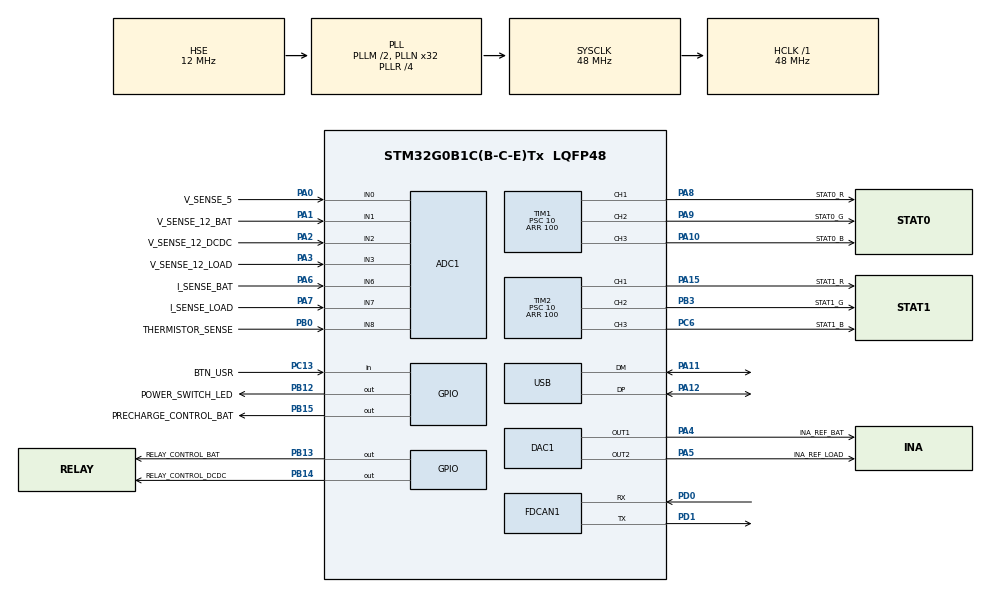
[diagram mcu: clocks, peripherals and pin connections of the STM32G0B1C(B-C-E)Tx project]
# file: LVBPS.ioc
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ADC1.ContinuousConvMode=ENABLE
ADC1.DMAContinuousRequests=ENABLE
ADC1.NbrOfConversion=1
ADC1.NbrOfConversionFlag=0
ADC1.OversamplingMode=ENABLE
ADC1.Ratio=ADC_OVERSAMPLING_RATIO_64
ADC1.RightBitShift=ADC_RIGHTBITSHIFT_2
ADC1.SamplingTimeCommon1=ADC_SAMPLETIME_7CYCLES_5
ADC1.SelectedChannel=ADC_CHANNEL_0|ADC_CHANNEL_1|ADC_CHANNEL_2|ADC_CHANNEL_3|ADC_CHANNEL_6|ADC_CHANNEL_7|ADC_CHANNEL_TEMPSENSOR|ADC_CHANNEL_VREFINT|ADC_CHANNEL_8
ADC1.Sequencer=NOT_FULLY_CONFIGURABLE
ADC1.master=1
DAC1.DAC_Channel-DAC_OUT1=DAC_CHANNEL_1
DAC1.DAC_Channel-DAC_OUT2=DAC_CHANNEL_2
DAC1.DAC_UserTrimming-DAC_OUT1=DAC_TRIMMING_FACTORY
Dma.ADC1.0.Direction=DMA_PERIPH_TO_MEMORY
Dma.ADC1.0.EventEnable=DISABLE
Dma.ADC1.0.Instance=DMA1_Channel1
Dma.ADC1.0.MemDataAlignment=DMA_MDATAALIGN_HALFWORD
Dma.ADC1.0.MemInc=DMA_MINC_ENABLE
Dma.ADC1.0.Mode=DMA_CIRCULAR
Dma.ADC1.0.PeriphDataAlignment=DMA_PDATAALIGN_HALFWORD
Dma.ADC1.0.PeriphInc=DMA_PINC_DISABLE
Dma.ADC1.0.Polarity=HAL_DMAMUX_REQ_GEN_RISING
Dma.ADC1.0.Priority=DMA_PRIORITY_HIGH
Dma.ADC1.0.RequestNumber=1
Dma.ADC1.0.SignalID=NONE
Dma.ADC1.0.SyncEnable=DISABLE
Dma.ADC1.0.SyncPolarity=HAL_DMAMUX_SYNC_NO_EVENT
Dma.ADC1.0.SyncRequestNumber=1
Dma.ADC1.0.SyncSignalID=NONE
Dma.Request0=ADC1
FDCAN1.CalculateBaudRateNominal=250000
FDCAN1.CalculateTimeBitNominal=4000
FDCAN1.CalculateTimeQuantumNominal=250.0
FDCAN1.NominalPrescaler=12
FDCAN1.NominalTimeSeg1=13
FDCAN1.NominalTimeSeg2=2
Mcu.Family=STM32G0
Mcu.Name=STM32G0B1C(B-C-E)Tx
Mcu.Package=LQFP48
NVIC.ADC1_COMP_IRQn=true\:0\:0\:false\:false\:true\:true\:true\:true
NVIC.DMA1_Channel1_IRQn=true\:0\:0\:false\:false\:true\:false\:true\:true
NVIC.TIM16_FDCAN_IT0_IRQn=true\:0\:0\:false\:false\:true\:true\:true\:true
NVIC.TIM17_FDCAN_IT1_IRQn=true\:0\:0\:false\:false\:true\:true\:true\:true
PA0.GPIO_Label=V_SENSE_5
PA0.Mode=IN0
PA0.Signal=ADC1_IN0
PA1.GPIO_Label=V_SENSE_12_BAT
PA1.Mode=IN1
PA1.Signal=ADC1_IN1
PA10.GPIO_Label=STAT0_B
PA10.Signal=S_TIM1_CH3
PA11\ [PA9].Mode=Device
PA11\ [PA9].Signal=USB_DM
PA12\ [PA10].Mode=Device
PA12\ [PA10].Signal=USB_DP
PA13.Mode=Serial_Wire
PA13.Signal=SYS_SWDIO
PA14-BOOT0.Mode=Serial_Wire
PA14-BOOT0.Signal=SYS_SWCLK
PA15.GPIO_Label=STAT1_R
PA15.Signal=S_TIM2_CH1_ETR
PA2.GPIO_Label=V_SENSE_12_DCDC
PA2.Mode=IN2
PA2.Signal=ADC1_IN2
PA3.GPIO_Label=V_SENSE_12_LOAD
PA3.Mode=IN3
PA3.Signal=ADC1_IN3
PA4.GPIO_Label=INA_REF_BAT
PA4.Signal=COMP_DAC11_group
PA5.GPIO_Label=INA_REF_LOAD
PA5.Signal=COMP_DAC12_group
PA6.GPIO_Label=I_SENSE_BAT
PA6.Mode=IN6
PA6.Signal=ADC1_IN6
PA7.GPIO_Label=I_SENSE_LOAD
PA7.Mode=IN7
PA7.Signal=ADC1_IN7
PA8.GPIO_Label=STAT0_R
PA8.Signal=S_TIM1_CH1
PA9.GPIO_Label=STAT0_G
PA9.Signal=S_TIM1_CH2
PB0.GPIO_Label=THERMISTOR_SENSE
PB0.Mode=IN8
PB0.Signal=ADC1_IN8
PB12.GPIO_Label=POWER_SWITCH_LED
PB12.Signal=GPIO_Output
PB13.GPIO_Label=RELAY_CONTROL_BAT
PB13.Signal=GPIO_Output
PB14.GPIO_Label=RELAY_CONTROL_DCDC
PB14.Signal=GPIO_Output
PB15.GPIO_Label=PRECHARGE_CONTROL_BAT
PB15.Signal=GPIO_Output
PB3.GPIO_Label=STAT1_G
PB3.Signal=S_TIM2_CH2
PC13.GPIO_Label=BTN_USR
PC13.Signal=GPIO_Input
PC14-OSC32_IN\ (PC14).Mode=LSE-External-Oscillator
PC14-OSC32_IN\ (PC14).Signal=RCC_OSC32_IN
PC15-OSC32_OUT\ (PC15).Mode=LSE-External-Oscillator
PC15-OSC32_OUT\ (PC15).Signal=RCC_OSC32_OUT
PC6.GPIO_Label=STAT1_B
PC6.Signal=S_TIM2_CH3
PD0.Mode=FDCAN_Activate
PD0.Signal=FDCAN1_RX
PD1.Mode=FDCAN_Activate
PD1.Signal=FDCAN1_TX
PF0-OSC_IN\ (PF0).Mode=HSE-External-Oscillator
PF0-OSC_IN\ (PF0).Signal=RCC_OSC_IN
PF1-OSC_OUT\ (PF1).Mode=HSE-External-Oscillator
PF1-OSC_OUT\ (PF1).Signal=RCC_OSC_OUT
ProjectManager.HeapSize=0x200
ProjectManager.StackSize=0x400
ProjectManager.TargetToolchain=CMake
RCC.ADCFreq_Value=48000000
RCC.AHBFreq_Value=48000000
RCC.CortexFreq_Value=48000000
RCC.EXTERNAL_CLOCK_VALUE=48000
RCC.HCLKFreq_Value=48000000
RCC.HSE_VALUE=12000000
RCC.HSI48_VALUE=48000000
RCC.HSI_VALUE=16000000
RCC.PLLM=RCC_PLLM_DIV2
RCC.PLLN=32
RCC.PLLR=RCC_PLLR_DIV4
RCC.PLLSourceVirtual=RCC_PLLSOURCE_HSE
RCC.SYSCLKFreq_VALUE=48000000
RCC.SYSCLKSource=RCC_SYSCLKSOURCE_PLLCLK
RCC.USBFreq_Value=48000000
RCC.VCOOutputFreq_Value=192000000
SH.COMP_DAC11_group.0=DAC1_OUT1,DAC_OUT1
SH.COMP_DAC12_group.0=DAC1_OUT2,DAC_OUT2
SH.S_TIM1_CH1.0=TIM1_CH1,PWM Generation1 CH1
SH.S_TIM1_CH2.0=TIM1_CH2,PWM Generation2 CH2
SH.S_TIM1_CH3.0=TIM1_CH3,PWM Generation3 CH3
SH.S_TIM2_CH1_ETR.0=TIM2_CH1,PWM Generation1 CH1
SH.S_TIM2_CH2.0=TIM2_CH2,PWM Generation2 CH2
SH.S_TIM2_CH3.0=TIM2_CH3,PWM Generation3 CH3
TIM1.Channel-PWM\ Generation1\ CH1=TIM_CHANNEL_1
TIM1.Channel-PWM\ Generation2\ CH2=TIM_CHANNEL_2
TIM1.Channel-PWM\ Generation3\ CH3=TIM_CHANNEL_3
TIM1.Period=100
TIM1.Prescaler=10
TIM2.Channel-PWM\ Generation1\ CH1=TIM_CHANNEL_1
TIM2.Channel-PWM\ Generation2\ CH2=TIM_CHANNEL_2
TIM2.Channel-PWM\ Generation3\ CH3=TIM_CHANNEL_3
TIM2.Period=100
TIM2.Prescaler=10
VP_ADC1_TempSens_Input.Mode=IN-TempSens
VP_ADC1_Vref_Input.Mode=IN-Vrefint
VP_SYS_VS_DBSignals.Mode=DisableDeadBatterySignals
board=custom

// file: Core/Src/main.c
/* USER CODE BEGIN Header */
/**
  ******************************************************************************
  * @file           : main.c
  * @brief          : Main program body
  ******************************************************************************
  * @attention
  *
  * Copyright (c) 2026 STMicroelectronics.
  * All rights reserved.
  *
  * This software is licensed under terms that can be found in the LICENSE file
  * in the root directory of this software component.
  * If no LICENSE file comes with this software, it is provided AS-IS.
  *
  ******************************************************************************
  */
/* USER CODE END Header */
#include "main.h"

/* USER CODE BEGIN Includes */
#include "LV3_CAN.h"
#include "LV3_CAN_Bitfield_XMacro.h"
#include "adc_sense.h"
#include <stdint.h>
#include <math.h>
/* USER CODE END Includes */

/* USER CODE BEGIN PTD */

// Battery relay will not turn on if any of these faults are set. Flag list and
// bit order come from the shared lv_bat_faults XMacro; packed so the flags
// occupy bits 0..N-1 of raw with no padding.
#define X(name, label) uint32_t name : 1;
typedef union {
  struct __attribute__((packed)) {
    LV3_CAN_Bitfield_lv_bat_faults_XMacro
  };
  uint32_t raw;
} Bat_Relay_Faults;
#undef X

// DCDC relay will not turn on if any of these faults are set. Flag list and
// bit order come from the shared lv_dcdc_faults XMacro.
#define X(name, label) uint32_t name : 1;
typedef union {
  struct __attribute__((packed)) {
    LV3_CAN_Bitfield_lv_dcdc_faults_XMacro
  };
  uint32_t raw;
} DCDC_Relay_Faults;
#undef X
/* USER CODE END PTD */

/* USER CODE BEGIN PD */

// Battery relay will not turn on until HAL_GetTick() exceeds this value, sets startup delay fault
#define SETPOINT_STARTUP_DELAY_MS        500

// Battery will be cut off no matter what if voltage gets this low, latches undervoltage fault
#define SETPOINT_UNDERVOLTAGE_V    11.0f
#define SETPOINT_UNDERVOLTAGE_TIME_MS     500

// Battery will be cut off no matter what if voltage gets this high, latches overvoltage fault
#define SETPOINT_OVERVOLTAGE_V        14.8f
#define SETPOINT_OVERVOLTAGE_TIME_MS       500

// Bus will not transition from off to on if battery voltage is below this threshold, sets startup undervoltage fault
// DCDC relay will not turn on if battery voltage is below this threshold, sets DCDC startup undervoltage fault
// If DCDC relay is on and battery voltage goes below this threshold, DCDC relay will turn off, latches DCDC undervoltage fault
#define SETPOINT_STARTUP_THRESHOLD_V 11.0f

// DCDC relay will turn on if DCDC voltage and battery voltage is below this threshold, sets DCDC startup undervoltage fault
// If DCDC relay is on and battery voltage exceeds this threshold, DCDC relay will turn off, latches DCDC overvoltage fault
#define SETPOINT_MAX_CHARGE_V       13.8f

// Battery will be cut off no matter what if battery current exceeds this threshold for SETPOINT_OVERCURRENT_TIME_MS, latches overcurrent fault
#define SETPOINT_MAX_CURRENT_A       7.0f
#define SETPOINT_OVERCURRENT_TIME_MS      500

// If DCDC relay is on and difference between battery current and load current exceeds this threshold, DCDC relay will turn off, latches DCDC overcurrent fault
// If load current remains goes below this threshold for SETPOINT_UNDERCURRENT_TIME_MS, battery will be cut off, latches undercurrent fault
#define SETPOINT_MIN_CURRENT_A      -9.0f
#define SETPOINT_UNDERCURRENT_TIME_MS     100
#define DCDC_OVERCURRENT_TIMEOUT_MS       500

// If difference between battery current and load current exceeds this threshold, DCDC relay will turn off, latches DCDC sink fault
#define DCDC_MAX_SINK_CURRENT_A          0.5f
#define DCDC_UNDERVOLTAGE_TIMEOUT_MS      500
#define DCDC_OVERVOLTAGE_TIMEOUT_MS       500
#define DCDC_SINK_TIMEOUT_MS              500

// If precharging lasts longer than this time, latches precharge timeout fault
#define PRECHARGE_TIMEOUT_MS                500

// Maximum voltage difference between battery and load for precharge
#define PRECHARGE_THRESHOLD_V  9.0f

// System will not operate when NTC is above this temperature (°C)
#define SETPOINT_MAX_TEMP_C  57.0f

/* USER CODE END PD */

ADC_HandleTypeDef hadc1;
DMA_HandleTypeDef hdma_adc1;

DAC_HandleTypeDef hdac1;

FDCAN_HandleTypeDef hfdcan1;

TIM_HandleTypeDef htim1;
TIM_HandleTypeDef htim2;

PCD_HandleTypeDef hpcd_USB_DRD_FS;

/* USER CODE BEGIN PV */
// Input state
GPIO_PinState BTN_USR;
GPIO_PinState BTN_USR_PREV = GPIO_PIN_RESET;

// Output state (0 = off, 1 = on)
uint8_t RELAY_CONTROL_BAT = 0;
uint8_t RELAY_CONTROL_DCDC = 0;
uint8_t PRECHARGE_CONTROL_BAT = 0;

uint8_t lv_bus_enabled = 1;
uint8_t bat_charge_enable = 1;
Bat_Relay_Faults bat_faults = {0};
uint8_t bat_faults_latched = 0;
DCDC_Relay_Faults dcdc_faults = {0};
uint32_t undervoltage_start_tick = 0;
uint32_t overvoltage_start_tick = 0;
uint32_t overcurrent_start_tick = 0;
uint32_t undercurrent_start_tick = 0;
uint32_t precharge_start_tick = 0;
uint32_t relay_fault_start_tick = 0;
uint32_t dcdc_undervoltage_start_tick = 0;
uint32_t dcdc_overvoltage_start_tick = 0;
uint32_t dcdc_overcurrent_start_tick = 0;
uint32_t dcdc_sink_start_tick = 0;
uint8_t precharge_complete = 0;

// LV3 CAN bound variables (integer mV / mA for CAN transmission)
uint32_t lv_bat_voltage_mv = 0;
uint32_t lv_dcdc_voltage_mv = 0;
uint32_t lv_load_voltage_mv = 0;
uint32_t lv_bat_current_ma = 0;
uint32_t lv_sys_current_ma = 0;
int32_t lv_bat_temp_c = 0;    // thermistor pin voltage in mV (raw; needs NTC curve for °C)
uint32_t lv_bat_faults_val = 0;
uint32_t lv_dcdc_faults_val = 0;
uint32_t lv_bat_relay_val = 0;
uint32_t lv_dcdc_relay_val = 0;

const LV3_CAN_Binding lv3_can_bindings[] = {
    {&lv_bat_voltage_mv,  lv_bat_voltage,  LV3_CAN_BindMode_Write},
    {&lv_dcdc_voltage_mv, lv_dcdc_voltage, LV3_CAN_BindMode_Write},
    {&lv_load_voltage_mv, lv_load_voltage, LV3_CAN_BindMode_Write},
    {&lv_bat_current_ma,  lv_bat_current,  LV3_CAN_BindMode_Write},
    {&lv_sys_current_ma,  lv_sys_current,  LV3_CAN_BindMode_Write},
    {&lv_bat_temp_c,     lv_bat_temp,     LV3_CAN_BindMode_Write},
    {&lv_bat_faults_val,  lv_bat_faults,   LV3_CAN_BindMode_Write},
    {&lv_dcdc_faults_val, lv_dcdc_faults,  LV3_CAN_BindMode_Write},
    {&lv_bat_relay_val,   lv_bat_relay,    LV3_CAN_BindMode_Write},
    {&lv_dcdc_relay_val,  lv_dcdc_relay,   LV3_CAN_BindMode_Write},
};
const unsigned int lv3_can_bindings_count = sizeof(lv3_can_bindings) / sizeof(LV3_CAN_Binding);
/* USER CODE END PV */

void SystemClock_Config(void);
static void MX_GPIO_Init(void);
static void MX_DMA_Init(void);
static void MX_FDCAN1_Init(void);
static void MX_USB_DRD_FS_PCD_Init(void);
static void MX_TIM1_Init(void);
static void MX_TIM2_Init(void);
static void MX_ADC1_Init(void);
static void MX_DAC1_Init(void);

/* USER CODE BEGIN 0 */

static uint8_t timed_fault(uint8_t condition, uint32_t *start_tick, uint32_t timeout_ms) {
  if (condition) {
    if (*start_tick == 0) *start_tick = HAL_GetTick();
    if (HAL_GetTick() - *start_tick >= timeout_ms) return 1;
  } else {
    *start_tick = 0;
  }
  return 0;
}

/* USER CODE END 0 */

int main(void)
{

  /* MCU Configuration--------------------------------------------------------*/

  /* Reset of all peripherals, Initializes the Flash interface and the Systick. */
  HAL_Init();

  /* Configure the system clock */
  SystemClock_Config();

  /* Initialize all configured peripherals */
  MX_GPIO_Init();
  MX_DMA_Init();
  MX_FDCAN1_Init();
  MX_USB_DRD_FS_PCD_Init();
  MX_TIM1_Init();
  MX_TIM2_Init();
  MX_ADC1_Init();
  MX_DAC1_Init();
  /* USER CODE BEGIN 2 */

  HAL_ADCEx_Calibration_Start(&hadc1);

  HAL_ADC_Start_DMA(&hadc1, (uint32_t *)adc_buf, 9);

  HAL_DAC_SetValue(&hdac1, DAC_CHANNEL_1, DAC_ALIGN_12B_R, 4096 / 2);
  HAL_DAC_Start(&hdac1, DAC_CHANNEL_1);
  HAL_DAC_SetValue(&hdac1, DAC_CHANNEL_2, DAC_ALIGN_12B_R, 4096 / 2);
  HAL_DAC_Start(&hdac1, DAC_CHANNEL_2);

  HAL_TIM_PWM_Start(&htim1, TIM_CHANNEL_1);
  HAL_TIM_PWM_Start(&htim1, TIM_CHANNEL_2);
  HAL_TIM_PWM_Start(&htim1, TIM_CHANNEL_3);

  __HAL_TIM_SET_COMPARE(&htim1, TIM_CHANNEL_1, 0);
  __HAL_TIM_SET_COMPARE(&htim1, TIM_CHANNEL_2, 0);
  __HAL_TIM_SET_COMPARE(&htim1, TIM_CHANNEL_3, 0);

  LV3_CAN_Init(15, LV3_CAN_BusMode_Normal, lv3_can_bindings, lv3_can_bindings_count);

  /* USER CODE END 2 */

  /* Infinite loop */
  while (1)
  {

    /* USER CODE BEGIN 3 */

    // --- Read inputs ---
    ADC_Sense_Update();
    BTN_USR = HAL_GPIO_ReadPin(BTN_USR_GPIO_Port, BTN_USR_Pin);

    // --- Process state ---
    lv_bat_voltage_mv  = (uint32_t)(adc_sense.v_sense_12_bat  * 1000.0f);
    lv_dcdc_voltage_mv = (uint32_t)(adc_sense.v_sense_12_dcdc * 1000.0f);
    lv_load_voltage_mv = (uint32_t)(adc_sense.v_sense_12_load * 1000.0f);
    lv_bat_current_ma  = (uint32_t)(adc_sense.i_sense_bat     * 1000.0f);
    lv_sys_current_ma  = (uint32_t)(adc_sense.i_sense_load    * 1000.0f);
    lv_bat_temp_c     = (1.0 / ((1.0 / 298.15) + (1.0 / 3950.0) * log((10000.0 * (adc_sense.thermistor_mv / (3300.0 - adc_sense.thermistor_mv))) / 10000.0))) - 273.15;

    // USR button toggles lv_bus_enabled on rising edge
    if (BTN_USR == GPIO_PIN_SET && BTN_USR_PREV == GPIO_PIN_RESET) {
      lv_bus_enabled ^= 1;
    }
    BTN_USR_PREV = BTN_USR;

    // DCDC current: battery current minus load current (positive = DCDC sourcing into bat, negative = sinking from bat)
    float dcdc_current = adc_sense.i_sense_bat - adc_sense.i_sense_load;

    // Clear all bat faults each loop unless latched, so faults reflect live conditions when relay is off
    if (!bat_faults_latched) bat_faults.raw = 0;

    // Non-latching startup faults: only relevant when relay is off; gate turn-on, not turn-off
    bat_faults.startup_delay        = !RELAY_CONTROL_BAT && (HAL_GetTick() < SETPOINT_STARTUP_DELAY_MS);
    bat_faults.startup_undervoltage = !RELAY_CONTROL_BAT && (adc_sense.v_sense_12_bat < SETPOINT_STARTUP_THRESHOLD_V);

    // Latching bat faults
    if (timed_fault(adc_sense.v_sense_12_bat < SETPOINT_UNDERVOLTAGE_V,                                       &undervoltage_start_tick, SETPOINT_UNDERVOLTAGE_TIME_MS)) bat_faults.undervoltage = 1;
    if (timed_fault(adc_sense.v_sense_12_bat > SETPOINT_OVERVOLTAGE_V,                                        &overvoltage_start_tick,  SETPOINT_OVERVOLTAGE_TIME_MS))  bat_faults.overvoltage  = 1;
    if (timed_fault(adc_sense.i_sense_bat > SETPOINT_MAX_CURRENT_A,                                           &overcurrent_start_tick,  SETPOINT_OVERCURRENT_TIME_MS))  bat_faults.overcurrent  = 1;
    if (timed_fault(adc_sense.i_sense_load < SETPOINT_MIN_CURRENT_A,                                          &undercurrent_start_tick, SETPOINT_UNDERCURRENT_TIME_MS)) bat_faults.undercurrent = 1;
    if (timed_fault(RELAY_CONTROL_BAT && adc_sense.v_sense_12_bat - adc_sense.v_sense_12_load >= PRECHARGE_THRESHOLD_V, &relay_fault_start_tick,  PRECHARGE_TIMEOUT_MS))          bat_faults.relay_fault  = 1;
    if (lv_bat_temp_c > SETPOINT_MAX_TEMP_C) bat_faults.overtemperature = 1;

    // Precharge state machine
    uint8_t relay_was_on = RELAY_CONTROL_BAT;
    uint8_t want_bus = lv_bus_enabled && !bat_faults.raw;
    if (want_bus && !PRECHARGE_CONTROL_BAT) {  // precharge just requested (once)
      precharge_start_tick = HAL_GetTick();
    }
    PRECHARGE_CONTROL_BAT = want_bus;  // precharge always matches bus intent
    if (want_bus) {
      if (adc_sense.v_sense_12_bat - adc_sense.v_sense_12_load < PRECHARGE_THRESHOLD_V) {  // within threshold (repeatedly)
        precharge_complete = 1;
      }
      if (precharge_complete) {  // precharge was successful (repeatedly)
        RELAY_CONTROL_BAT = 1;
      } else if (HAL_GetTick() - precharge_start_tick >= PRECHARGE_TIMEOUT_MS) {  // precharge timed out (once)
        bat_faults.precharge_timeout = 1;
      }
    } else {
      RELAY_CONTROL_BAT = 0;
      precharge_complete = 0;
      precharge_start_tick = 0;
    }

    // Latch if relay was on this loop and a latching fault fired (relay may now be off due to the fault)
    if ((relay_was_on && (bat_faults.undervoltage || bat_faults.overvoltage
                        || bat_faults.overcurrent  || bat_faults.undercurrent
                        || bat_faults.relay_fault || bat_faults.overtemperature))
        || bat_faults.precharge_timeout) {
      bat_faults_latched = 1;
    }

    // Non-latching DCDC startup faults: only relevant when relay is off; gate turn-on, not turn-off
    dcdc_faults.dcdc_startup_undervoltage = !RELAY_CONTROL_DCDC && (adc_sense.v_sense_12_bat < SETPOINT_STARTUP_THRESHOLD_V
                                                                  || adc_sense.v_sense_12_dcdc < SETPOINT_STARTUP_THRESHOLD_V);
    dcdc_faults.dcdc_startup_overvoltage  = !RELAY_CONTROL_DCDC && (adc_sense.v_sense_12_bat >= SETPOINT_MAX_CHARGE_V
                                                                  || adc_sense.v_sense_12_dcdc >= SETPOINT_MAX_CHARGE_V);

    // Latching DCDC faults
    if (timed_fault(RELAY_CONTROL_DCDC && adc_sense.v_sense_12_bat < SETPOINT_STARTUP_THRESHOLD_V, &dcdc_undervoltage_start_tick, DCDC_UNDERVOLTAGE_TIMEOUT_MS)) dcdc_faults.dcdc_undervoltage = 1;
    if (timed_fault(RELAY_CONTROL_DCDC && adc_sense.v_sense_12_bat > SETPOINT_MAX_CHARGE_V,        &dcdc_overvoltage_start_tick,  DCDC_OVERVOLTAGE_TIMEOUT_MS))  dcdc_faults.dcdc_overvoltage  = 1;
    if (timed_fault(RELAY_CONTROL_DCDC && dcdc_current < SETPOINT_MIN_CURRENT_A,         &dcdc_overcurrent_start_tick,  DCDC_OVERCURRENT_TIMEOUT_MS))  dcdc_faults.dcdc_overcurrent  = 1;
    if (timed_fault(RELAY_CONTROL_DCDC && dcdc_current > DCDC_MAX_SINK_CURRENT_A,        &dcdc_sink_start_tick,         DCDC_SINK_TIMEOUT_MS))         dcdc_faults.dcdc_sink         = 1;

    // DCDC relay: on when BAT relay is on, bat_charge_enable set, and no dcdc faults (startup faults clear automatically)
    RELAY_CONTROL_DCDC = RELAY_CONTROL_BAT && bat_charge_enable && !dcdc_faults.raw;

    // --- Apply outputs ---
    HAL_GPIO_WritePin(RELAY_CONTROL_BAT_GPIO_Port, RELAY_CONTROL_BAT_Pin, RELAY_CONTROL_BAT);
    HAL_GPIO_WritePin(RELAY_CONTROL_DCDC_GPIO_Port, RELAY_CONTROL_DCDC_Pin, RELAY_CONTROL_DCDC);
    HAL_GPIO_WritePin(PRECHARGE_CONTROL_BAT_GPIO_Port, PRECHARGE_CONTROL_BAT_Pin, PRECHARGE_CONTROL_BAT);

    // STAT0 LED: battery voltage mapped as hue red→yellow→green→cyan→blue across undervoltage→overvoltage
    float v_norm = (adc_sense.v_sense_12_bat - SETPOINT_UNDERVOLTAGE_V) / (SETPOINT_OVERVOLTAGE_V - SETPOINT_UNDERVOLTAGE_V);
    if (v_norm < 0.0f) v_norm = 0.0f;
    if (v_norm > 1.0f) v_norm = 1.0f;
    float hue = v_norm * 240.0f;  // red=0, yellow=60, green=120, cyan=180, blue=240
    float hf = hue / 60.0f;
    int   hs = (int)hf;
    float f  = hf - hs;
    float r, g, b;
    switch (hs) {
      case 0:  r=1.0f;   g=f;      b=0.0f;  break;  // red → yellow
      case 1:  r=1.0f-f; g=1.0f;   b=0.0f;  break;  // yellow → green
      case 2:  r=0.0f;   g=1.0f;   b=f;     break;  // green → cyan
      case 3:  r=0.0f;   g=1.0f-f; b=1.0f;  break;  // cyan → blue
      default: r=0.0f;   g=0.0f;   b=1.0f;  break;
    }

    uint8_t led_on;
    if      (bat_faults_latched)
    led_on = (HAL_GetTick() % 200) < 100;   // fast blink: latching fault
    else if (bat_faults.raw)      led_on = (HAL_GetTick() % 1000) < 500;  // slow blink: non-latching fault
    else                          led_on = 1;

    __HAL_TIM_SET_COMPARE(&htim1, TIM_CHANNEL_1, led_on ? (uint32_t)(g * 100) : 0);  // G
    __HAL_TIM_SET_COMPARE(&htim1, TIM_CHANNEL_2, led_on ? (uint32_t)(r * 100) : 0);  // R
    __HAL_TIM_SET_COMPARE(&htim1, TIM_CHANNEL_3, led_on ? (uint32_t)(b * 100) : 0);  // B
    HAL_GPIO_WritePin(POWER_SWITCH_LED_GPIO_Port, POWER_SWITCH_LED_Pin, led_on);

    lv_bat_faults_val  = bat_faults.raw;
    lv_dcdc_faults_val = dcdc_faults.raw;
    lv_bat_relay_val   = RELAY_CONTROL_BAT;
    lv_dcdc_relay_val  = RELAY_CONTROL_DCDC;

    LV3_CAN_Loop();

  }
  /* USER CODE END 3 */
}

void SystemClock_Config(void)
{
  RCC_OscInitTypeDef RCC_OscInitStruct = {0};
  RCC_ClkInitTypeDef RCC_ClkInitStruct = {0};

  /** Configure the main internal regulator output voltage
  */
  HAL_PWREx_ControlVoltageScaling(PWR_REGULATOR_VOLTAGE_SCALE1);

  /** Initializes the RCC Oscillators according to the specified parameters
  * in the RCC_OscInitTypeDef structure.
  */
  RCC_OscInitStruct.OscillatorType = RCC_OSCILLATORTYPE_HSE|RCC_OSCILLATORTYPE_HSI48;
  RCC_OscInitStruct.HSEState = RCC_HSE_ON;
  RCC_OscInitStruct.HSI48State = RCC_HSI48_ON;
  RCC_OscInitStruct.PLL.PLLState = RCC_PLL_ON;
  RCC_OscInitStruct.PLL.PLLSource = RCC_PLLSOURCE_HSE;
  RCC_OscInitStruct.PLL.PLLM = RCC_PLLM_DIV2;
  RCC_OscInitStruct.PLL.PLLN = 32;
  RCC_OscInitStruct.PLL.PLLP = RCC_PLLP_DIV2;
  RCC_OscInitStruct.PLL.PLLQ = RCC_PLLQ_DIV2;
  RCC_OscInitStruct.PLL.PLLR = RCC_PLLR_DIV4;
  if (HAL_RCC_OscConfig(&RCC_OscInitStruct) != HAL_OK)
  {
    Error_Handler();
  }

  /** Initializes the CPU, AHB and APB buses clocks
  */
  RCC_ClkInitStruct.ClockType = RCC_CLOCKTYPE_HCLK|RCC_CLOCKTYPE_SYSCLK
                              |RCC_CLOCKTYPE_PCLK1;
  RCC_ClkInitStruct.SYSCLKSource = RCC_SYSCLKSOURCE_PLLCLK;
  RCC_ClkInitStruct.AHBCLKDivider = RCC_SYSCLK_DIV1;
  RCC_ClkInitStruct.APB1CLKDivider = RCC_HCLK_DIV1;

  if (HAL_RCC_ClockConfig(&RCC_ClkInitStruct, FLASH_LATENCY_1) != HAL_OK)
  {
    Error_Handler();
  }
}

static void MX_ADC1_Init(void)
{

  ADC_ChannelConfTypeDef sConfig = {0};

  /** Configure the global features of the ADC (Clock, Resolution, Data Alignment and number of conversion)
  */
  hadc1.Instance = ADC1;
  hadc1.Init.ClockPrescaler = ADC_CLOCK_SYNC_PCLK_DIV2;
  hadc1.Init.Resolution = ADC_RESOLUTION_12B;
  hadc1.Init.DataAlign = ADC_DATAALIGN_RIGHT;
  hadc1.Init.ScanConvMode = ADC_SCAN_SEQ_FIXED;
  hadc1.Init.EOCSelection = ADC_EOC_SINGLE_CONV;
  hadc1.Init.LowPowerAutoWait = DISABLE;
  hadc1.Init.LowPowerAutoPowerOff = DISABLE;
  hadc1.Init.ContinuousConvMode = ENABLE;
  hadc1.Init.NbrOfConversion = 1;
  hadc1.Init.ExternalTrigConv = ADC_SOFTWARE_START;
  hadc1.Init.ExternalTrigConvEdge = ADC_EXTERNALTRIGCONVEDGE_NONE;
  hadc1.Init.DMAContinuousRequests = ENABLE;
  hadc1.Init.Overrun = ADC_OVR_DATA_PRESERVED;
  hadc1.Init.SamplingTimeCommon1 = ADC_SAMPLETIME_7CYCLES_5;
  hadc1.Init.OversamplingMode = ENABLE;
  hadc1.Init.Oversampling.Ratio = ADC_OVERSAMPLING_RATIO_64;
  hadc1.Init.Oversampling.RightBitShift = ADC_RIGHTBITSHIFT_2;
  hadc1.Init.Oversampling.TriggeredMode = ADC_TRIGGEREDMODE_SINGLE_TRIGGER;
  hadc1.Init.TriggerFrequencyMode = ADC_TRIGGER_FREQ_HIGH;
  if (HAL_ADC_Init(&hadc1) != HAL_OK)
  {
    Error_Handler();
  }

  /** Configure Regular Channel
  */
  sConfig.Channel = ADC_CHANNEL_0;
  sConfig.Rank = ADC_RANK_CHANNEL_NUMBER;
  if (HAL_ADC_ConfigChannel(&hadc1, &sConfig) != HAL_OK)
  {
    Error_Handler();
  }

  /** Configure Regular Channel
  */
  sConfig.Channel = ADC_CHANNEL_1;
  if (HAL_ADC_ConfigChannel(&hadc1, &sConfig) != HAL_OK)
  {
    Error_Handler();
  }

  /** Configure Regular Channel
  */
  sConfig.Channel = ADC_CHANNEL_2;
  if (HAL_ADC_ConfigChannel(&hadc1, &sConfig) != HAL_OK)
  {
    Error_Handler();
  }

  /** Configure Regular Channel
  */
  sConfig.Channel = ADC_CHANNEL_3;
  if (HAL_ADC_ConfigChannel(&hadc1, &sConfig) != HAL_OK)
  {
    Error_Handler();
  }

  /** Configure Regular Channel
  */
  sConfig.Channel = ADC_CHANNEL_6;
  if (HAL_ADC_ConfigChannel(&hadc1, &sConfig) != HAL_OK)
  {
    Error_Handler();
  }

  /** Configure Regular Channel
  */
  sConfig.Channel = ADC_CHANNEL_7;
  if (HAL_ADC_ConfigChannel(&hadc1, &sConfig) != HAL_OK)
  {
    Error_Handler();
  }

  /** Configure Regular Channel
  */
  sConfig.Channel = ADC_CHANNEL_TEMPSENSOR;
  if (HAL_ADC_ConfigChannel(&hadc1, &sConfig) != HAL_OK)
  {
    Error_Handler();
  }

  /** Configure Regular Channel
  */
  sConfig.Channel = ADC_CHANNEL_VREFINT;
  if (HAL_ADC_ConfigChannel(&hadc1, &sConfig) != HAL_OK)
  {
    Error_Handler();
  }

  /** Configure Regular Channel
  */
  sConfig.Channel = ADC_CHANNEL_8;
  if (HAL_ADC_ConfigChannel(&hadc1, &sConfig) != HAL_OK)
  {
    Error_Handler();
  }

}

static void MX_DAC1_Init(void)
{

  DAC_ChannelConfTypeDef sConfig = {0};

  /** DAC Initialization
  */
  hdac1.Instance = DAC1;
  if (HAL_DAC_Init(&hdac1) != HAL_OK)
  {
    Error_Handler();
  }

  /** DAC channel OUT1 config
  */
  sConfig.DAC_SampleAndHold = DAC_SAMPLEANDHOLD_DISABLE;
  sConfig.DAC_Trigger = DAC_TRIGGER_NONE;
  sConfig.DAC_OutputBuffer = DAC_OUTPUTBUFFER_ENABLE;
  sConfig.DAC_ConnectOnChipPeripheral = DAC_CHIPCONNECT_DISABLE;
  sConfig.DAC_UserTrimming = DAC_TRIMMING_FACTORY;
  if (HAL_DAC_ConfigChannel(&hdac1, &sConfig, DAC_CHANNEL_1) != HAL_OK)
  {
    Error_Handler();
  }

  /** DAC channel OUT2 config
  */
  if (HAL_DAC_ConfigChannel(&hdac1, &sConfig, DAC_CHANNEL_2) != HAL_OK)
  {
    Error_Handler();
  }

}

static void MX_FDCAN1_Init(void)
{

  hfdcan1.Instance = FDCAN1;
  hfdcan1.Init.ClockDivider = FDCAN_CLOCK_DIV1;
  hfdcan1.Init.FrameFormat = FDCAN_FRAME_CLASSIC;
  hfdcan1.Init.Mode = FDCAN_MODE_NORMAL;
  hfdcan1.Init.AutoRetransmission = DISABLE;
  hfdcan1.Init.TransmitPause = DISABLE;
  hfdcan1.Init.ProtocolException = DISABLE;
  hfdcan1.Init.NominalPrescaler = 12;
  hfdcan1.Init.NominalSyncJumpWidth = 1;
  hfdcan1.Init.NominalTimeSeg1 = 13;
  hfdcan1.Init.NominalTimeSeg2 = 2;
  hfdcan1.Init.DataPrescaler = 1;
  hfdcan1.Init.DataSyncJumpWidth = 1;
  hfdcan1.Init.DataTimeSeg1 = 1;
  hfdcan1.Init.DataTimeSeg2 = 1;
  hfdcan1.Init.StdFiltersNbr = 0;
  hfdcan1.Init.ExtFiltersNbr = 0;
  hfdcan1.Init.TxFifoQueueMode = FDCAN_TX_FIFO_OPERATION;
  if (HAL_FDCAN_Init(&hfdcan1) != HAL_OK)
  {
    Error_Handler();
  }

}

static void MX_TIM1_Init(void)
{

  TIM_MasterConfigTypeDef sMasterConfig = {0};
  TIM_OC_InitTypeDef sConfigOC = {0};
  TIM_BreakDeadTimeConfigTypeDef sBreakDeadTimeConfig = {0};

  htim1.Instance = TIM1;
  htim1.Init.Prescaler = 10;
  htim1.Init.CounterMode = TIM_COUNTERMODE_UP;
  htim1.Init.Period = 100;
  htim1.Init.ClockDivision = TIM_CLOCKDIVISION_DIV1;
  htim1.Init.RepetitionCounter = 0;
  htim1.Init.AutoReloadPreload = TIM_AUTORELOAD_PRELOAD_DISABLE;
  if (HAL_TIM_PWM_Init(&htim1) != HAL_OK)
  {
    Error_Handler();
  }
  sMasterConfig.MasterOutputTrigger = TIM_TRGO_RESET;
  sMasterConfig.MasterOutputTrigger2 = TIM_TRGO2_RESET;
  sMasterConfig.MasterSlaveMode = TIM_MASTERSLAVEMODE_DISABLE;
  if (HAL_TIMEx_MasterConfigSynchronization(&htim1, &sMasterConfig) != HAL_OK)
  {
    Error_Handler();
  }
  sConfigOC.OCMode = TIM_OCMODE_PWM1;
  sConfigOC.Pulse = 0;
  sConfigOC.OCPolarity = TIM_OCPOLARITY_HIGH;
  sConfigOC.OCNPolarity = TIM_OCNPOLARITY_HIGH;
  sConfigOC.OCFastMode = TIM_OCFAST_DISABLE;
  sConfigOC.OCIdleState = TIM_OCIDLESTATE_RESET;
  sConfigOC.OCNIdleState = TIM_OCNIDLESTATE_RESET;
  if (HAL_TIM_PWM_ConfigChannel(&htim1, &sConfigOC, TIM_CHANNEL_1) != HAL_OK)
  {
    Error_Handler();
  }
  if (HAL_TIM_PWM_ConfigChannel(&htim1, &sConfigOC, TIM_CHANNEL_2) != HAL_OK)
  {
    Error_Handler();
  }
  if (HAL_TIM_PWM_ConfigChannel(&htim1, &sConfigOC, TIM_CHANNEL_3) != HAL_OK)
  {
    Error_Handler();
  }
  sBreakDeadTimeConfig.OffStateRunMode = TIM_OSSR_DISABLE;
  sBreakDeadTimeConfig.OffStateIDLEMode = TIM_OSSI_DISABLE;
  sBreakDeadTimeConfig.LockLevel = TIM_LOCKLEVEL_OFF;
  sBreakDeadTimeConfig.DeadTime = 0;
  sBreakDeadTimeConfig.BreakState = TIM_BREAK_DISABLE;
  sBreakDeadTimeConfig.BreakPolarity = TIM_BREAKPOLARITY_HIGH;
  sBreakDeadTimeConfig.BreakFilter = 0;
  sBreakDeadTimeConfig.BreakAFMode = TIM_BREAK_AFMODE_INPUT;
  sBreakDeadTimeConfig.Break2State = TIM_BREAK2_DISABLE;
  sBreakDeadTimeConfig.Break2Polarity = TIM_BREAK2POLARITY_HIGH;
  sBreakDeadTimeConfig.Break2Filter = 0;
  sBreakDeadTimeConfig.Break2AFMode = TIM_BREAK_AFMODE_INPUT;
  sBreakDeadTimeConfig.AutomaticOutput = TIM_AUTOMATICOUTPUT_DISABLE;
  if (HAL_TIMEx_ConfigBreakDeadTime(&htim1, &sBreakDeadTimeConfig) != HAL_OK)
  {
    Error_Handler();
  }
  HAL_TIM_MspPostInit(&htim1);

}

static void MX_TIM2_Init(void)
{

  TIM_MasterConfigTypeDef sMasterConfig = {0};
  TIM_OC_InitTypeDef sConfigOC = {0};

  htim2.Instance = TIM2;
  htim2.Init.Prescaler = 10;
  htim2.Init.CounterMode = TIM_COUNTERMODE_UP;
  htim2.Init.Period = 100;
  htim2.Init.ClockDivision = TIM_CLOCKDIVISION_DIV1;
  htim2.Init.AutoReloadPreload = TIM_AUTORELOAD_PRELOAD_DISABLE;
  if (HAL_TIM_PWM_Init(&htim2) != HAL_OK)
  {
    Error_Handler();
  }
  sMasterConfig.MasterOutputTrigger = TIM_TRGO_RESET;
  sMasterConfig.MasterSlaveMode = TIM_MASTERSLAVEMODE_DISABLE;
  if (HAL_TIMEx_MasterConfigSynchronization(&htim2, &sMasterConfig) != HAL_OK)
  {
    Error_Handler();
  }
  sConfigOC.OCMode = TIM_OCMODE_PWM1;
  sConfigOC.Pulse = 0;
  sConfigOC.OCPolarity = TIM_OCPOLARITY_HIGH;
  sConfigOC.OCFastMode = TIM_OCFAST_DISABLE;
  if (HAL_TIM_PWM_ConfigChannel(&htim2, &sConfigOC, TIM_CHANNEL_1) != HAL_OK)
  {
    Error_Handler();
  }
  if (HAL_TIM_PWM_ConfigChannel(&htim2, &sConfigOC, TIM_CHANNEL_2) != HAL_OK)
  {
    Error_Handler();
  }
  if (HAL_TIM_PWM_ConfigChannel(&htim2, &sConfigOC, TIM_CHANNEL_3) != HAL_OK)
  {
    Error_Handler();
  }
  HAL_TIM_MspPostInit(&htim2);

}

static void MX_USB_DRD_FS_PCD_Init(void)
{

  hpcd_USB_DRD_FS.Instance = USB_DRD_FS;
  hpcd_USB_DRD_FS.Init.dev_endpoints = 8;
  hpcd_USB_DRD_FS.Init.Host_channels = 8;
  hpcd_USB_DRD_FS.Init.speed = PCD_SPEED_FULL;
  hpcd_USB_DRD_FS.Init.phy_itface = PCD_PHY_EMBEDDED;
  hpcd_USB_DRD_FS.Init.Sof_enable = DISABLE;
  hpcd_USB_DRD_FS.Init.low_power_enable = DISABLE;
  hpcd_USB_DRD_FS.Init.lpm_enable = DISABLE;
  hpcd_USB_DRD_FS.Init.battery_charging_enable = DISABLE;
  hpcd_USB_DRD_FS.Init.vbus_sensing_enable = DISABLE;
  hpcd_USB_DRD_FS.Init.bulk_doublebuffer_enable = DISABLE;
  hpcd_USB_DRD_FS.Init.iso_singlebuffer_enable = DISABLE;
  if (HAL_PCD_Init(&hpcd_USB_DRD_FS) != HAL_OK)
  {
    Error_Handler();
  }

}

static void MX_DMA_Init(void)
{

  /* DMA controller clock enable */
  __HAL_RCC_DMA1_CLK_ENABLE();

  /* DMA interrupt init */
  /* DMA1_Channel1_IRQn interrupt configuration */
  HAL_NVIC_SetPriority(DMA1_Channel1_IRQn, 0, 0);
  HAL_NVIC_EnableIRQ(DMA1_Channel1_IRQn);

}

static void MX_GPIO_Init(void)
{
  GPIO_InitTypeDef GPIO_InitStruct = {0};

  /* GPIO Ports Clock Enable */
  __HAL_RCC_GPIOC_CLK_ENABLE();
  __HAL_RCC_GPIOF_CLK_ENABLE();
  __HAL_RCC_GPIOA_CLK_ENABLE();
  __HAL_RCC_GPIOB_CLK_ENABLE();
  __HAL_RCC_GPIOD_CLK_ENABLE();

  /*Configure GPIO pin Output Level */
  HAL_GPIO_WritePin(GPIOB, POWER_SWITCH_LED_Pin|RELAY_CONTROL_BAT_Pin|RELAY_CONTROL_DCDC_Pin|PRECHARGE_CONTROL_BAT_Pin, GPIO_PIN_RESET);

  /*Configure GPIO pin : BTN_USR_Pin */
  GPIO_InitStruct.Pin = BTN_USR_Pin;
  GPIO_InitStruct.Mode = GPIO_MODE_INPUT;
  GPIO_InitStruct.Pull = GPIO_NOPULL;
  HAL_GPIO_Init(BTN_USR_GPIO_Port, &GPIO_InitStruct);

  /*Configure GPIO pins : POWER_SWITCH_LED_Pin RELAY_CONTROL_BAT_Pin RELAY_CONTROL_DCDC_Pin PRECHARGE_CONTROL_BAT_Pin */
  GPIO_InitStruct.Pin = POWER_SWITCH_LED_Pin|RELAY_CONTROL_BAT_Pin|RELAY_CONTROL_DCDC_Pin|PRECHARGE_CONTROL_BAT_Pin;
  GPIO_InitStruct.Mode = GPIO_MODE_OUTPUT_PP;
  GPIO_InitStruct.Pull = GPIO_NOPULL;
  GPIO_InitStruct.Speed = GPIO_SPEED_FREQ_LOW;
  HAL_GPIO_Init(GPIOB, &GPIO_InitStruct);

}

void Error_Handler(void)
{
  __disable_irq();
  while (1)
  {
  }
}
